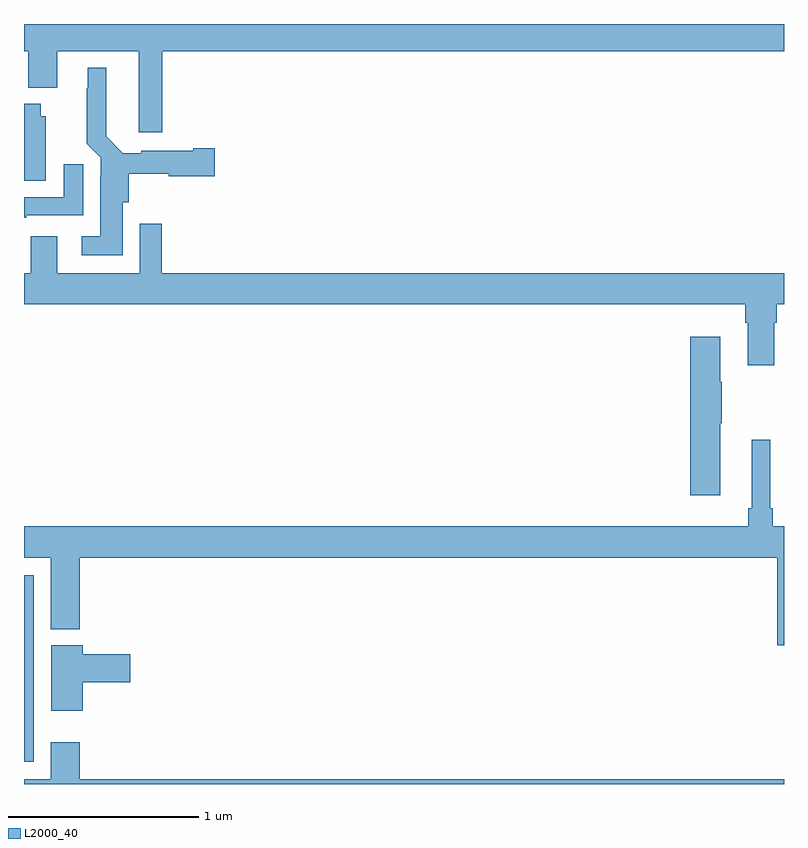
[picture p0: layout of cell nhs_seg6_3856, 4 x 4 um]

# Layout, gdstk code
import gdstk
lib = gdstk.Library(unit=1e-6, precision=1e-09)
def R(c, l, rs):  # rectangles x0, y0, x1, y1
    for r in rs: c.add(gdstk.rectangle(r[:2], r[2:], *l))
def P(c, l, *ps):  # polygons
    for p in ps: c.add(gdstk.Polygon(p, *l))
L2000_40 = (2000, 40)

nhs_seg6_3856 = lib.new_cell('nhs_seg6_3856')
R(nhs_seg6_3856, L2000_40, [(339,923.616,339.051,924.6)])
P(nhs_seg6_3856, L2000_40, [(339.728,927.356),(343,927.356),(343,927.5),(339,927.5),(339,927.356),(339.023,927.356),(339.023,927.164),(339.175,927.164),(339.175,927.356),(339.605,927.356),(339.605,926.931),(339.728,926.931)],
  [(339.52,926.562),(339.551,926.562),(339.551,926.711),(339.762,926.711),(339.762,926.699),(340.003,926.699),(340.003,926.846),(339.89,926.846),(339.89,926.833),(339.618,926.833),(339.618,926.821),(339.519,926.821),(339.433,926.908),(339.433,927.271),(339.335,927.271),(339.335,927.161),(339.331,927.161),(339.331,926.87),(339.405,926.796),(339.405,926.702),(339.401,926.702),(339.401,926.383),(339.303,926.383),(339.303,926.282),(339.52,926.282)],
  [(339.115,927.015),(339.088,927.015),(339.088,927.079),(339,927.079),(339,926.674),(339.115,926.674)],
  [(339.013,926.493),(339.313,926.493),(339.313,926.761),(339.209,926.761),(339.209,926.589),(339,926.589),(339,926.481),(339.013,926.481)],
  [(342.949,925.928),(342.962,925.928),(342.962,926.024),(343,926.024),(343,926.188),(339.725,926.188),(339.725,926.449),(339.609,926.449),(339.609,926.188),(339.175,926.188),(339.175,926.383),(339.035,926.383),(339.035,926.188),(339,926.188),(339,926.024),(342.797,926.024),(342.797,925.928),(342.809,925.928),(342.809,925.704),(342.949,925.704)],
  [(342.664,925.399),(342.672,925.399),(342.672,925.616),(342.664,925.616),(342.664,925.855),(342.506,925.855),(342.506,925.02),(342.664,925.02)],
  [(343,924.856),(342.941,924.856),(342.941,924.952),(342.927,924.952),(342.927,925.312),(342.83,925.312),(342.83,924.952),(342.811,924.952),(342.811,924.856),(339,924.856),(339,924.692),(339.14,924.692),(339.14,924.314),(339.293,924.314),(339.293,924.692),(342.965,924.692),(342.965,924.231),(343,924.231)],
  [(339.31,924.035),(339.559,924.035),(339.559,924.182),(339.31,924.182),(339.31,924.229),(339.143,924.229),(339.143,923.886),(339.31,923.886)],
  [(343,923.524),(339.293,923.524),(339.293,923.719),(339.14,923.719),(339.14,923.524),(339,923.524),(339,923.5),(343,923.5)])

lib.write_gds('nhs_seg6_3856.gds')
